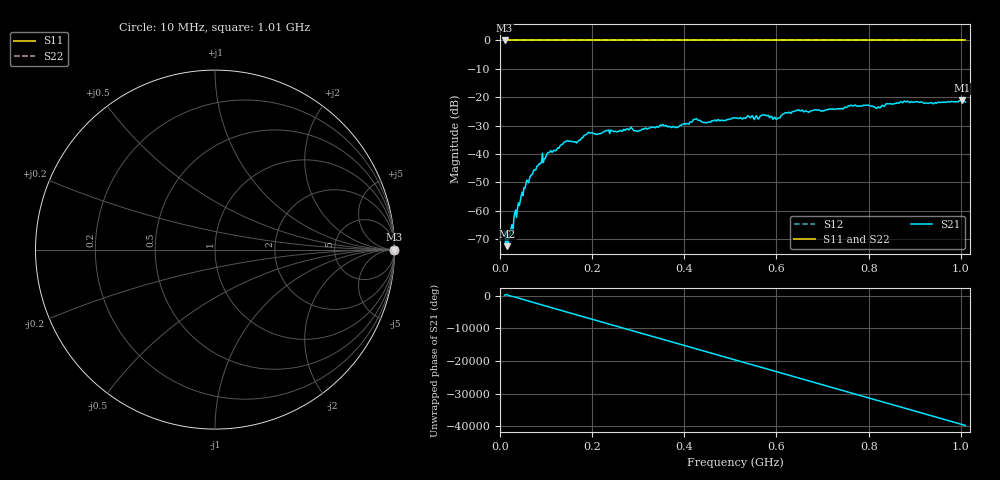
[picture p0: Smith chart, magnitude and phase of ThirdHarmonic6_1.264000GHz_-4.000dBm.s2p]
! 8/16/2025 1:36:50 PM
! C:\ANRITSUVNA\TEMP\TEMP.S2P
! CHANNEL.1
! TR.MEASUREMENT
! RAW.DATA
! RF.CORRECTION.OFF
! AVERAGING.OFF
! IF.BANDWIDTH: 5KHZ
! SWEEPTYPE:  FREQ.SWEEP(Linear)
! Reference Plane Port Info
! PORT:  PORT1  PORT2
! DISTANCE:  0  m  0  m
! TIME:  0  s  0  s
! PHASE.OFFSET:  0  deg.  0  deg.
! LOSS:  0  dB  0  dB
! REF.LOSS:  0  dB  0  dB
! REF.FREQ:  0  Hz  0  Hz
! Power Info
! POWER:  -20  dBm  -20  dBm
! EFF.POWER:  -20  dBm  -20  dBm
! SOURCE.ATTEN:  0  dB  0  dB
! TEST.ATTEN:  0  dB  0  dB
# GHZ S RI R 50.0
! FREQ.GHZ  S11RE  S11IM  S21RE  S21IM  S12RE  S12IM  S22RE  S22IM
!; PortSelection: Port_12
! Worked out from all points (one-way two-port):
!   501 points, 10 MHz to 1.01 GHz, reference 50 ohm
!   highest |S21| = -21.10 dB at 1.002 GHz (marker M1); lowest = -72.5 dB at 16 MHz (marker M2)
!   lowest |S11| = 0.0 dB at 10 MHz (marker M3)
!   |S11| at or under -10 dB: nowhere
!   |S22| runs from 0.0 to 0.0 dB; largest |S21 - S12| = 1.1
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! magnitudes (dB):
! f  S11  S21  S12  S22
! 10 MHz  0.0  -67.2  0.0  0.0
! 16 MHz  0.0  -72.5  0.0  0.0
! 20 MHz  0.0  -68.5  0.0  0.0
! 36 MHz  0.0  -62.3  0.0  0.0
! 56 MHz  0.0  -51.0  0.0  0.0
! 88 MHz  0.0  -43.1  0.0  0.0
! 142 MHz  0.0  -35.6  0.0  0.0
! 178 MHz  0.0  -34.2  0.0  0.0
! 196 MHz  0.0  -32.7  0.0  0.0
! 344 MHz  0.0  -30.6  0.0  0.0
! 384 MHz  0.0  -30.6  0.0  0.0
! 424 MHz  0.0  -27.8  0.0  0.0
! 446 MHz  0.0  -28.9  0.0  0.0
! 510 MHz  0.0  -27.3  0.0  0.0
! 572 MHz  0.0  -26.2  0.0  0.0
! 602 MHz  0.0  -27.4  0.0  0.0
! 644 MHz  0.0  -24.7  0.0  0.0
! 678 MHz  0.0  -24.7  0.0  0.0
! 820 MHz  0.0  -23.5  0.0  0.0
! 844 MHz  0.0  -22.3  0.0  0.0
! 1.002 GHz  0.0  -21.1  0.0  0.0
! 1.01 GHz  0.0  -21.7  0.0  0.0
